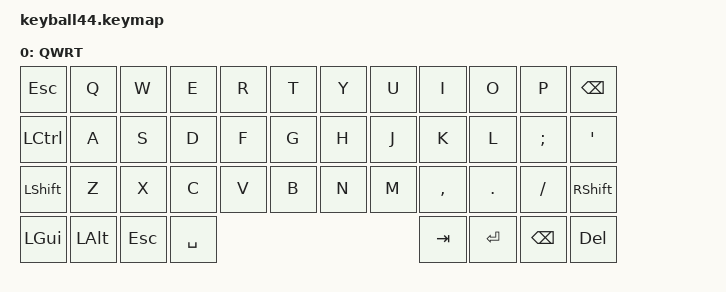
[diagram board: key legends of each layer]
#define DEFAULT 0

#include <behaviors/mouse_keys.dtsi>
#include <behaviors.dtsi>
#include <dt-bindings/zmk/bt.h>
#include <dt-bindings/zmk/keys.h>
#include <dt-bindings/zmk/mouse.h>

&lt {
    tapping-term-ms = <240>;
    flavor = "balanced";
    quick-tap-ms = <150>;
};

&mt {
    tapping-term-ms = <200>;
    flavor = "tap-preferred";
    quick-tap-ms = <150>;
};

&caps_word { continue-list = <UNDERSCORE MINUS>; };

/ {
    behaviors {
        cmqus: comma_question {
            compatible = "zmk,behavior-mod-morph";
            label = "COMMA_QUESTION";
            #binding-cells = <0>;
            bindings = <&kp COMMA>, <&kp QUESTION>;
            mods = <(MOD_LSFT|MOD_RSFT)>;
        };

        dtsmi: dot_semi {
            compatible = "zmk,behavior-mod-morph";
            label = "DOT_SEMI";
            #binding-cells = <0>;
            bindings = <&kp DOT>, <&kp SEMI>;
            mods = <(MOD_LSFT|MOD_RSFT)>;
        };
    };

    keymap {
        compatible = "zmk,keymap";

        default_layer {
            label = "QWRT";
            bindings = <
&kp ESCAPE      &kp Q     &kp W         &kp E        &kp R      &kp T                 &kp Y            &kp U  &kp I      &kp O    &kp P      &kp BACKSPACE
&kp LCTRL       &kp A     &kp S         &kp D        &kp F      &kp G                 &kp H            &kp J  &kp K      &kp L    &kp SEMI   &kp SQT
&kp LEFT_SHIFT  &kp Z     &kp X         &kp C        &kp V      &kp B                 &kp N            &kp M  &kp COMMA  &kp DOT  &kp SLASH  &kp RIGHT_SHIFT
&kp LGUI        &kp LALT  &kp ESCAPE    &kp SPACE    &kp TAB               &kp ENTER  &kp BACKSPACE                                        &kp DELETE
            >;
        };
    };
};
